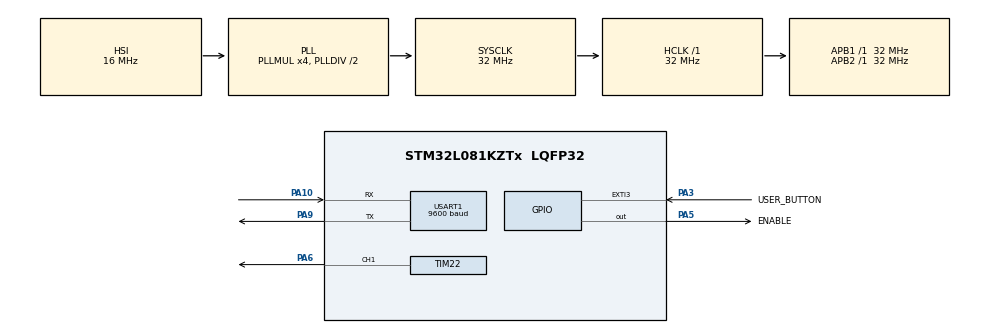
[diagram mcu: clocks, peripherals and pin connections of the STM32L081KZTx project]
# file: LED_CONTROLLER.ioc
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Mcu.Family=STM32L0
Mcu.Name=STM32L081KZTx
Mcu.Package=LQFP32
NVIC.EXTI2_3_IRQn=true\:0\:0\:false\:false\:true\:true\:true
NVIC.USART1_IRQn=true\:0\:0\:false\:false\:true\:true\:true
PA10.Mode=Asynchronous
PA10.Signal=USART1_RX
PA13.Mode=Serial_Wire
PA13.Signal=SYS_SWDIO
PA14.Mode=Serial_Wire
PA14.Signal=SYS_SWCLK
PA3.GPIO_Label=USER_BUTTON
PA3.GPIO_ModeDefaultEXTI=GPIO_MODE_IT_RISING
PA3.GPIO_PuPd=GPIO_PULLUP
PA3.Signal=GPXTI3
PA5.GPIO_Label=ENABLE
PA5.Signal=GPIO_Output
PA6.Signal=S_TIM22_CH1
PA9.Mode=Asynchronous
PA9.Signal=USART1_TX
ProjectManager.HeapSize=0x200
ProjectManager.StackSize=0x400
ProjectManager.TargetToolchain=SW4STM32
RCC.AHBFreq_Value=32000000
RCC.APB1Freq_Value=32000000
RCC.APB1TimFreq_Value=32000000
RCC.APB2Freq_Value=32000000
RCC.APB2TimFreq_Value=32000000
RCC.HCLKFreq_Value=32000000
RCC.HSI16_VALUE=16000000
RCC.HSI_VALUE=16000000
RCC.LSE_VALUE=32768
RCC.MSI_VALUE=2097000
RCC.PLLMUL=RCC_PLLMUL_4
RCC.SYSCLKFreq_VALUE=32000000
RCC.SYSCLKSource=RCC_SYSCLKSOURCE_PLLCLK
RCC.VCOOutputFreq_Value=64000000
SH.S_TIM22_CH1.0=TIM22_CH1,PWM Generation1 CH1
TIM22.AutoReloadPreload=TIM_AUTORELOAD_PRELOAD_ENABLE
TIM22.Channel-PWM\ Generation1\ CH1=TIM_CHANNEL_1
TIM22.Period=130-1
TIM22.Prescaler=1024
USART1.BaudRate=9600
USART1.VirtualMode-Asynchronous=VM_ASYNC
VP_TIM22_VS_ClockSourceINT.Mode=Internal
board=custom

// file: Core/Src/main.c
/* USER CODE BEGIN Header */
/**
  ******************************************************************************
  * @file           : main.c
  * @brief          : Main program body
  ******************************************************************************
  * @attention
  *
  * <h2><center>&copy; Copyright (c) 2021 STMicroelectronics.
  * All rights reserved.</center></h2>
  *
  * This software component is licensed by ST under BSD 3-Clause license,
  * the "License"; You may not use this file except in compliance with the
  * License. You may obtain a copy of the License at:
  *                        opensource.org/licenses/BSD-3-Clause
  *
  ******************************************************************************
  */
/* USER CODE END Header */
#include "main.h"

/* USER CODE BEGIN PM */
#define Off 0		//0% power
#define Low 1		//25% power
#define Medium 2	//50% power
#define High 3		//75% power
#define Turbo 5		//100% power
#define MORSE 4
/* USER CODE END PM */

TIM_HandleTypeDef htim22;

UART_HandleTypeDef huart1;

/* USER CODE BEGIN PV */
uint8_t ucCharBuf = 0;		//Temporary buffer for each ASCII character
uint8_t ucCharStock[128];	//Buffer where all the ASCII characters are stored
uint16_t usDataArrived = 0;	//Variable will be set when all the data is received
uint16_t usSize = 0;		//Tracks the number of received ASCII characters

uint8_t ucMODE = Off; 		//Stores the mode current mode we are in
uint8_t uclastMode = Off; 	//Stores the mode we were in before the interrupt triggered by the switch
int8_t iPulse = 1; 			//Control variable to get into the full power mode
uint16_t usLastTime = 350;	//Stores the time between interrupts triggered by the switch
/* USER CODE END PV */

void SystemClock_Config(void);
static void MX_GPIO_Init(void);
static void MX_TIM22_Init(void);
static void MX_USART1_UART_Init(void);

int main(void)
{

  /* MCU Configuration--------------------------------------------------------*/

  /* Reset of all peripherals, Initializes the Flash interface and the Systick. */
  HAL_Init();

  /* Configure the system clock */
  SystemClock_Config();

  /* Initialize all configured peripherals */
  MX_GPIO_Init();
  MX_TIM22_Init();
  MX_USART1_UART_Init();
  /* USER CODE BEGIN 2 */
  HAL_UART_Receive_IT( &huart1, &ucCharBuf, 1);
  HAL_TIM_PWM_Start(&htim22, TIM_CHANNEL_1);
	HAL_GPIO_WritePin(ENABLE_GPIO_Port, ENABLE_Pin, GPIO_PIN_RESET);	//Enable the LED driver
  //(LED_GPIO_Port, LED_Pin, GPIO_PIN_SET);
  /* USER CODE END 2 */

  /* Infinite loop */
  while (1)
  {

    /* USER CODE BEGIN 3 */
	  //HAL_GPIO_WritePin(TEST_GPIO_Port, TEST_Pin, GPIO_PIN_SET);
	  TIM2-> CCR1 = 116;
	/*if(ucMODE == Off)
	{
		TIM2->CCR1 = 0; 							//Set Duty Cycle to 0%
		//HAL_GPIO_WritePin(ENABLE_GPIO_Port, ENABLE_Pin, GPIO_PIN_SET);	//Disable the LED driver
	}
	if(ucMODE == Low)
	{
		TIM2->CCR1 = 116; 							//Set Duty Cycle to 25%
	}
	if(ucMODE == Medium)
	{
		TIM2->CCR1 = 119; 							//Set Duty Cycle to 50%
	}
	if(ucMODE == High)
	{
		TIM2->CCR1 = 124; 							//Set Duty Cycle to 75%
	}
	  /*TIM22->CCR1 = 116;
	  HAL_Delay(1000);
	  TIM22->CCR1 = 119;
	  TIM22->CCR1 = 117;
	  HAL_Delay(1000);
	  TIM22->CCR1 = 124;
	  HAL_Delay(1000);*/
	  /*if(usDataArrived == 1)
	  {
		  TIM22->CCR1 = 131;
		  HAL_Delay(7000);
	  }*/
  }
  /* USER CODE END 3 */
}

void SystemClock_Config(void)
{
  RCC_OscInitTypeDef RCC_OscInitStruct = {0};
  RCC_ClkInitTypeDef RCC_ClkInitStruct = {0};
  RCC_PeriphCLKInitTypeDef PeriphClkInit = {0};

  /** Configure the main internal regulator output voltage
  */
  __HAL_PWR_VOLTAGESCALING_CONFIG(PWR_REGULATOR_VOLTAGE_SCALE1);
  /** Initializes the RCC Oscillators according to the specified parameters
  * in the RCC_OscInitTypeDef structure.
  */
  RCC_OscInitStruct.OscillatorType = RCC_OSCILLATORTYPE_HSI;
  RCC_OscInitStruct.HSIState = RCC_HSI_ON;
  RCC_OscInitStruct.HSICalibrationValue = RCC_HSICALIBRATION_DEFAULT;
  RCC_OscInitStruct.PLL.PLLState = RCC_PLL_ON;
  RCC_OscInitStruct.PLL.PLLSource = RCC_PLLSOURCE_HSI;
  RCC_OscInitStruct.PLL.PLLMUL = RCC_PLLMUL_4;
  RCC_OscInitStruct.PLL.PLLDIV = RCC_PLLDIV_2;
  if (HAL_RCC_OscConfig(&RCC_OscInitStruct) != HAL_OK)
  {
    Error_Handler();
  }
  /** Initializes the CPU, AHB and APB buses clocks
  */
  RCC_ClkInitStruct.ClockType = RCC_CLOCKTYPE_HCLK|RCC_CLOCKTYPE_SYSCLK
                              |RCC_CLOCKTYPE_PCLK1|RCC_CLOCKTYPE_PCLK2;
  RCC_ClkInitStruct.SYSCLKSource = RCC_SYSCLKSOURCE_PLLCLK;
  RCC_ClkInitStruct.AHBCLKDivider = RCC_SYSCLK_DIV1;
  RCC_ClkInitStruct.APB1CLKDivider = RCC_HCLK_DIV1;
  RCC_ClkInitStruct.APB2CLKDivider = RCC_HCLK_DIV1;

  if (HAL_RCC_ClockConfig(&RCC_ClkInitStruct, FLASH_LATENCY_1) != HAL_OK)
  {
    Error_Handler();
  }
  PeriphClkInit.PeriphClockSelection = RCC_PERIPHCLK_USART1;
  PeriphClkInit.Usart1ClockSelection = RCC_USART1CLKSOURCE_PCLK2;
  if (HAL_RCCEx_PeriphCLKConfig(&PeriphClkInit) != HAL_OK)
  {
    Error_Handler();
  }
}

static void MX_TIM22_Init(void)
{

  TIM_ClockConfigTypeDef sClockSourceConfig = {0};
  TIM_MasterConfigTypeDef sMasterConfig = {0};
  TIM_OC_InitTypeDef sConfigOC = {0};

  htim22.Instance = TIM22;
  htim22.Init.Prescaler = 1024;
  htim22.Init.CounterMode = TIM_COUNTERMODE_UP;
  htim22.Init.Period = 130-1;
  htim22.Init.ClockDivision = TIM_CLOCKDIVISION_DIV1;
  htim22.Init.AutoReloadPreload = TIM_AUTORELOAD_PRELOAD_ENABLE;
  if (HAL_TIM_Base_Init(&htim22) != HAL_OK)
  {
    Error_Handler();
  }
  sClockSourceConfig.ClockSource = TIM_CLOCKSOURCE_INTERNAL;
  if (HAL_TIM_ConfigClockSource(&htim22, &sClockSourceConfig) != HAL_OK)
  {
    Error_Handler();
  }
  if (HAL_TIM_PWM_Init(&htim22) != HAL_OK)
  {
    Error_Handler();
  }
  sMasterConfig.MasterOutputTrigger = TIM_TRGO_RESET;
  sMasterConfig.MasterSlaveMode = TIM_MASTERSLAVEMODE_DISABLE;
  if (HAL_TIMEx_MasterConfigSynchronization(&htim22, &sMasterConfig) != HAL_OK)
  {
    Error_Handler();
  }
  sConfigOC.OCMode = TIM_OCMODE_PWM1;
  sConfigOC.Pulse = 0;
  sConfigOC.OCPolarity = TIM_OCPOLARITY_HIGH;
  sConfigOC.OCFastMode = TIM_OCFAST_DISABLE;
  if (HAL_TIM_PWM_ConfigChannel(&htim22, &sConfigOC, TIM_CHANNEL_1) != HAL_OK)
  {
    Error_Handler();
  }
  HAL_TIM_MspPostInit(&htim22);

}

static void MX_USART1_UART_Init(void)
{

  huart1.Instance = USART1;
  huart1.Init.BaudRate = 9600;
  huart1.Init.WordLength = UART_WORDLENGTH_8B;
  huart1.Init.StopBits = UART_STOPBITS_1;
  huart1.Init.Parity = UART_PARITY_NONE;
  huart1.Init.Mode = UART_MODE_TX_RX;
  huart1.Init.HwFlowCtl = UART_HWCONTROL_NONE;
  huart1.Init.OverSampling = UART_OVERSAMPLING_16;
  huart1.Init.OneBitSampling = UART_ONE_BIT_SAMPLE_DISABLE;
  huart1.AdvancedInit.AdvFeatureInit = UART_ADVFEATURE_NO_INIT;
  if (HAL_UART_Init(&huart1) != HAL_OK)
  {
    Error_Handler();
  }

}

static void MX_GPIO_Init(void)
{
  GPIO_InitTypeDef GPIO_InitStruct = {0};

  /* GPIO Ports Clock Enable */
  __HAL_RCC_GPIOA_CLK_ENABLE();

  /*Configure GPIO pin Output Level */
  HAL_GPIO_WritePin(ENABLE_GPIO_Port, ENABLE_Pin, GPIO_PIN_RESET);

  /*Configure GPIO pin : USER_BUTTON_Pin */
  GPIO_InitStruct.Pin = USER_BUTTON_Pin;
  GPIO_InitStruct.Mode = GPIO_MODE_IT_RISING;
  GPIO_InitStruct.Pull = GPIO_PULLUP;
  HAL_GPIO_Init(USER_BUTTON_GPIO_Port, &GPIO_InitStruct);

  /*Configure GPIO pin : ENABLE_Pin */
  GPIO_InitStruct.Pin = ENABLE_Pin;
  GPIO_InitStruct.Mode = GPIO_MODE_OUTPUT_PP;
  GPIO_InitStruct.Pull = GPIO_NOPULL;
  GPIO_InitStruct.Speed = GPIO_SPEED_FREQ_LOW;
  HAL_GPIO_Init(ENABLE_GPIO_Port, &GPIO_InitStruct);

  /* EXTI interrupt init*/
  HAL_NVIC_SetPriority(EXTI2_3_IRQn, 0, 0);
  HAL_NVIC_EnableIRQ(EXTI2_3_IRQn);

}

/* USER CODE BEGIN 4 */
void HAL_GPIO_EXTI_Callback(uint16_t GPIO_Pin)
{
	TIM2->CCR1 = 117;
	if(GPIO_Pin == USER_BUTTON_Pin)
	{
		ucMODE++;
	}
}

void HAL_UART_RxCpltCallback( UART_HandleTypeDef *huart )
{

	HAL_UART_Receive_IT( &huart1, &ucCharBuf, 1);
	if( ucCharBuf == '\n')
	{
		usDataArrived = 1;
	}
	else
	{
		ucCharStock[usSize] = ucCharBuf;
		usSize++;
	}
}
/* USER CODE END 4 */

void Error_Handler(void)
{
}

/************************ (C) COPYRIGHT STMicroelectronics *****END OF FILE****/
